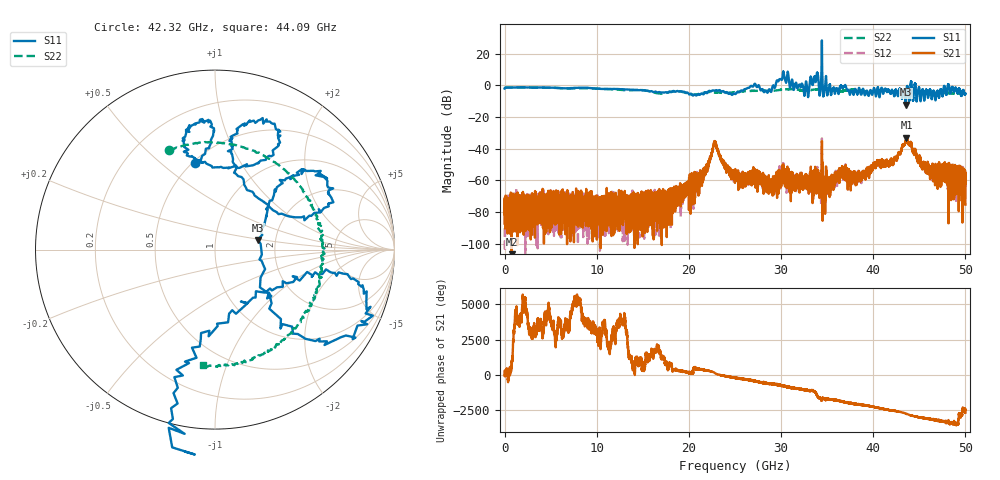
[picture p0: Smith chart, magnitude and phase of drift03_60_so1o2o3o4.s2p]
!Created with skrf (http://scikit-rf.org).
# Hz S RI R 50.0
!freq ReS11 ImS11 ReS21 ImS21 ReS12 ImS12 ReS22 ImS22
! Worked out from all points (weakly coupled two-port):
!   10000 points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, 5.3 MHz to 50 GHz, reference 50 ohm
!   highest |S21| = -33.18 dB at 43.61 GHz (marker M1); lowest = -110.0 dB at 765.3 MHz (marker M2)
!   lowest |S11| = -12.2 dB at 43.51 GHz (marker M3), VSWR 1.65, Z = 80.6 + j9.31 ohm
!   |S11| at or under -10 dB: 43.48525 GHz to 43.5532 GHz (67.95 MHz wide, 0.156 % of centre); 44.70688 GHz to 44.71159 GHz (4.713 MHz wide, 0.0105 % of centre); 45.13856 GHz to 45.14072 GHz (2.159 MHz wide, 0.00478 % of centre)
!   |S22| runs from -5.9 to -1.3 dB; largest |S21 - S12| = 0.018
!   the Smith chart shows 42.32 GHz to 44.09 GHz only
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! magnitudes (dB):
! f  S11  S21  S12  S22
! 5.3 MHz  -2.1  -87.3  -74.3  -2.1
! 765.3 MHz  -1.4  -110.0  -92.0  -1.5
! 8.34 GHz  -1.5  -86.5  -76.6  -1.9
! 16.67 GHz  -4.4  -74.3  -77.7  -5.2
! 20.95 GHz  -5.7  -58.6  -60.3  -5.6
! 21.95 GHz  -4.9  -49.7  -52.8  -4.4
! 22.81 GHz  -3.4  -35.2  -35.1  -4.4
! 25.01 GHz  -5.5  -58.7  -57.9  -4.2
! 28.92 GHz  -4.2  -60.5  -65.4  -3.5
! 30.14 GHz  4.4  -57.4  -56.2  -2.8
! 32.74 GHz  2.1  -58.0  -60.1  -3.4
! 33.34 GHz  2.6  -60.2  -57.5  -2.9
! 33.82 GHz  4.3  -58.0  -61.1  -2.6
! 34.84 GHz  3.5  -69.0  -75.7  -2.4
! 36.47 GHz  -0.4  -55.8  -53.5  -3.6
! 38.47 GHz  -1.7  -55.1  -55.1  -3.0
! 41.67 GHz  -3.0  -49.8  -50.6  -3.7
! 43.51 GHz  -12.2  -35.6  -35.8  -4.2
! 43.61 GHz  -3.9  -33.2  -33.5  -4.2
! 46.29 GHz  -6.1  -54.4  -52.8  -5.5
! 49.22 GHz  -3.5  -54.7  -55.8  -5.1
! 50 GHz  -5.2  -75.5  -58.7  -4.9
